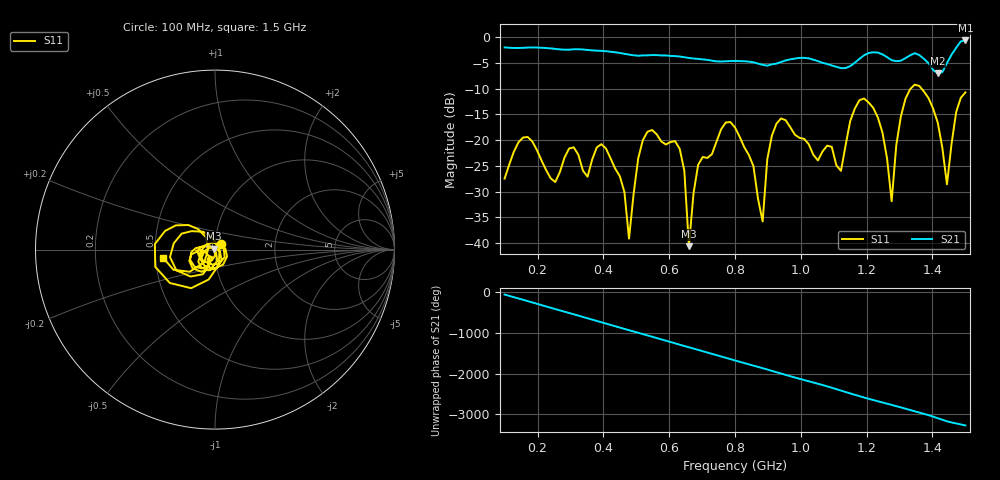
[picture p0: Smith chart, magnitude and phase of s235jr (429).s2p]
! NanoVNA-App
! Date: 2025-09-25 15:07:30
! Start: 100MHz Stop: 1,5GHz Points: 101
! S-Parameter data: F S11 S21 S12 S22
# Hz S RI R 50
!  Frequency  S11_Real  S11_Imag  S21_Real  S21_Imag  S12_Real  S12_Imag  S22_Real  S22_Imag
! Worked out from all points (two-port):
!   101 points, 100 MHz to 1.5 GHz, reference 50 ohm
!   highest |S21| = -0.62 dB at 1.5 GHz (marker M1); lowest = -7.0 dB at 1.416 GHz (marker M2)
!   |S21| within 3 dB of the highest: start of sweep to 603 MHz; 1.19 GHz to 1.256 GHz (65.86 MHz wide, 5.39 % of centre) (the widest 2 of 4)
!   lowest |S11| = -40.6 dB at 660 MHz (marker M3), VSWR 1.02, Z = 49.3 + j0.595 ohm
!   |S11| at or under -10 dB: start of sweep to 1.333 GHz; 1.367 GHz to end of sweep
!   S12 and S22 are empty: the file has one direction only
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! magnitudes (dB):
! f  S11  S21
! 100 MHz  -27.5  -2.0
! 170 MHz  -19.4  -2.0
! 338 MHz  -25.9  -2.4
! 408 MHz  -21.6  -2.7
! 478 MHz  -39.1  -3.4
! 520 MHz  -20.0  -3.5
! 576 MHz  -20.3  -3.5
! 632 MHz  -21.7  -3.7
! 660 MHz  -40.6  -4.0
! 688 MHz  -24.8  -4.2
! 800 MHz  -17.5  -4.6
! 884 MHz  -35.8  -5.4
! 926 MHz  -16.8  -5.1
! 1.038 GHz  -22.8  -4.4
! 1.122 GHz  -26.0  -6.0
! 1.192 GHz  -11.9  -3.5
! 1.248 GHz  -18.5  -3.3
! 1.276 GHz  -31.9  -4.5
! 1.332 GHz  -10.1  -3.5
! 1.416 GHz  -16.6  -7.0
! 1.444 GHz  -28.6  -5.0
! 1.5 GHz  -10.7  -0.6
